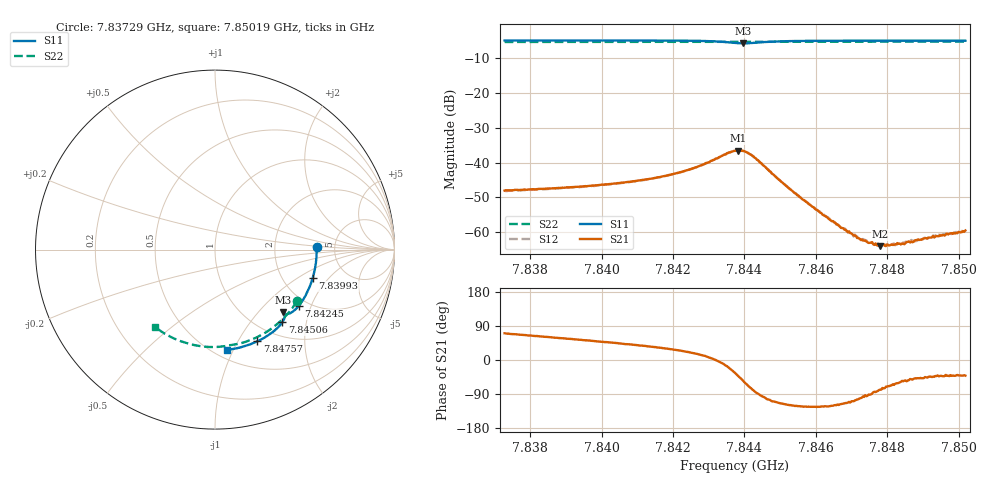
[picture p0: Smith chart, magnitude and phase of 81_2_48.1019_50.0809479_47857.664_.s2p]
#  HZ  S  RI  R  50.00
! Rohde & Schwarz Vector Network Analyzer
! Rohde-Schwarz,ZNB20-2Port,1311601062101988,3.16
! Created: UTC 12/23/2023, 3:42:45 AM
! freq[Hz]  re:S11  im:S11  re:S21  im:S21  re:S12  im:S12  re:S22  im:S22
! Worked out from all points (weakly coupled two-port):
!   401 points, 7.83729 GHz to 7.85019 GHz, reference 50 ohm
!   highest |S21| = -36.53 dB at 7.84383 GHz (marker M1); lowest = -64.0 dB at 7.8478 GHz (marker M2)
!   lowest |S11| = -5.8 dB at 7.84396 GHz (marker M3), VSWR 3.13, Z = 72.4 - j68.8 ohm
!   |S11| at or under -10 dB: nowhere
!   |S22| runs from -5.4 to -5.3 dB; largest |S21 - S12| = 0.00028
!   S11 on the Smith chart (normalised r, x): 7.83729 GHz: 3.60, +0.17; 7.83993 GHz: 2.92, -1.36; 7.84245 GHz: 1.78, -1.64; 7.84506 GHz: 1.25, -1.46; 7.84757 GHz: 0.81, -1.21; 7.85019 GHz: 0.58, -0.95
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7.837286e9  0.5662 0.0163  0.00133 0.00373  0.00137 0.0037  0.4569 -0.2872
7.839447e9  0.5527 -0.1269  0.00273 0.00363  0.00269 0.00357  0.3599 -0.4033
7.83993e9  0.5444 -0.1583  0.00314 0.00358  0.00309 0.00356  0.3341 -0.4251
7.840769e9  0.5254 -0.212  0.00399 0.0035  0.00389 0.00349  0.2861 -0.4591
7.841607e9  0.5 -0.2642  0.0052 0.00334  0.00519 0.00332  0.2345 -0.488
7.842446e9  0.4661 -0.3143  0.00739 0.00282  0.00735 0.0028  0.18 -0.5107
7.843252e9  0.4175 -0.3549  0.0116 -0.000515  0.0115 -0.000581  0.1256 -0.5258
7.843736e9  0.383 -0.3558  0.0122 -0.00825  0.0123 -0.00828  0.0931 -0.531
7.843833e9  0.3798 -0.3527  0.0109 -0.0102  0.011 -0.01  0.0869 -0.532
7.843962e9  0.3792 -0.3489  0.00853 -0.0121  0.00845 -0.0119  0.0788 -0.5332
7.844252e9  0.3869 -0.3523  0.00215 -0.0121  0.00208 -0.0118  0.0602 -0.5366
7.845058e9  0.3746 -0.4051  -0.00221 -0.0047  -0.00223 -0.00472  0.00425 -0.5426
7.845897e9  0.3334 -0.4497  -0.00129 -0.00195  -0.00131 -0.00198  -0.055 -0.5408
7.846929e9  0.2749 -0.4906  -0.000362 -0.000967  -0.000339 -0.000917  -0.1268 -0.5295
7.847219e9  0.2575 -0.5003  -0.000165 -0.000793  -0.000181 -0.000824  -0.1465 -0.5244
7.847574e9  0.2362 -0.5109  1.62e-05 -0.000721  4.91e-05 -0.000704  -0.1703 -0.5174
7.847799e9  0.2222 -0.5172  0.000129 -0.000619  0.000114 -0.000643  -0.1854 -0.5123
7.848057e9  0.2062 -0.524  0.000234 -0.000605  0.000244 -0.000582  -0.2023 -0.5061
7.848444e9  0.1817 -0.5329  0.000381 -0.000571  0.00037 -0.000611  -0.2274 -0.4956
7.848831e9  0.1571 -0.5406  0.000516 -0.000579  0.000469 -0.000587  -0.2518 -0.4839
7.849638e9  0.1049 -0.553  0.000717 -0.000587  0.000718 -0.000637  -0.3007 -0.4554
7.850186e9  0.0687 -0.5582  0.000797 -0.0007  0.000781 -0.000709  -0.3323 -0.4334
